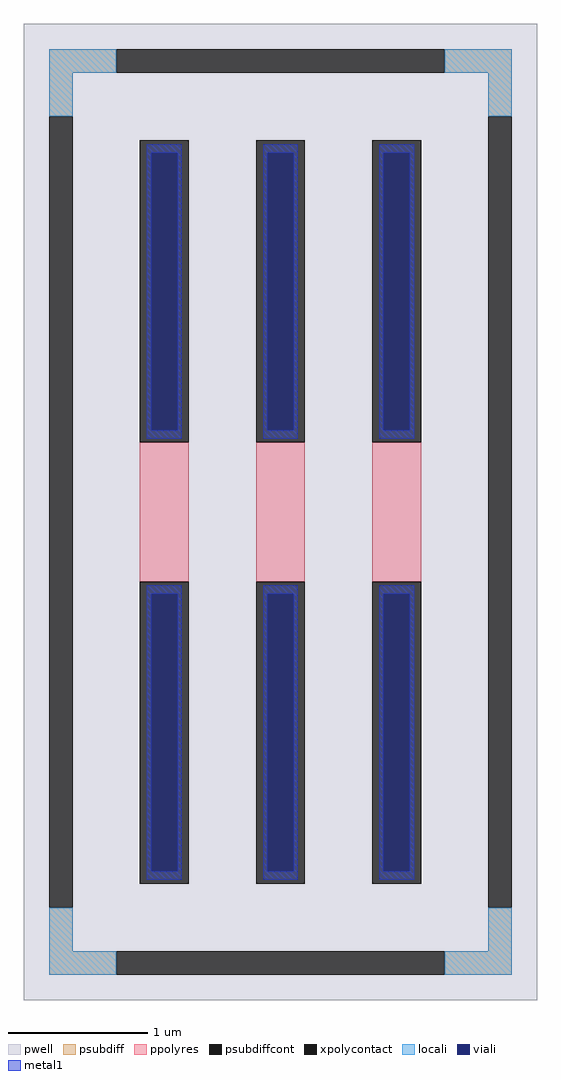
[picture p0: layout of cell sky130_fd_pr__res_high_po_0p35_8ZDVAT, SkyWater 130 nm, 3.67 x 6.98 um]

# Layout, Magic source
magic
tech sky130A
magscale 1 2
<< pwell >>
rect -367 -698 367 698
<< psubdiff >>
rect -331 628 -235 662
rect 235 628 331 662
rect -331 566 -297 628
rect 297 566 331 628
rect -331 -628 -297 -566
rect 297 -628 331 -566
rect -331 -662 -235 -628
rect 235 -662 331 -628
<< psubdiffcont >>
rect -235 628 235 662
rect -331 -566 -297 566
rect 297 -566 331 566
rect -235 -662 235 -628
<< xpolycontact >>
rect -201 100 -131 532
rect -201 -532 -131 -100
rect -35 100 35 532
rect -35 -532 35 -100
rect 131 100 201 532
rect 131 -532 201 -100
<< ppolyres >>
rect -201 -100 -131 100
rect -35 -100 35 100
rect 131 -100 201 100
<< locali >>
rect -331 628 -235 662
rect 235 628 331 662
rect -331 566 -297 628
rect 297 566 331 628
rect -331 -628 -297 -566
rect 297 -628 331 -566
rect -331 -662 -235 -628
rect 235 -662 331 -628
<< viali >>
rect -185 117 -147 514
rect -19 117 19 514
rect 147 117 185 514
rect -185 -514 -147 -117
rect -19 -514 19 -117
rect 147 -514 185 -117
<< metal1 >>
rect -191 514 -141 526
rect -191 117 -185 514
rect -147 117 -141 514
rect -191 105 -141 117
rect -25 514 25 526
rect -25 117 -19 514
rect 19 117 25 514
rect -25 105 25 117
rect 141 514 191 526
rect 141 117 147 514
rect 185 117 191 514
rect 141 105 191 117
rect -191 -117 -141 -105
rect -191 -514 -185 -117
rect -147 -514 -141 -117
rect -191 -526 -141 -514
rect -25 -117 25 -105
rect -25 -514 -19 -117
rect 19 -514 25 -117
rect -25 -526 25 -514
rect 141 -117 191 -105
rect 141 -514 147 -117
rect 185 -514 191 -117
rect 141 -526 191 -514
<< properties >>
string FIXED_BBOX -314 -645 314 645
string gencell sky130_fd_pr__res_high_po_0p35
string library sky130
string parameters w 0.35 l 1.0 m 1 nx 3 wmin 0.350 lmin 0.50 rho 319.8 val 2.026k dummy 0 dw 0.0 term 194.82 sterm 0.0 caplen 0 guard 1 glc 1 grc 1 gtc 1 gbc 1 compatible {sky130_fd_pr__res_high_po_0p35  sky130_fd_pr__res_high_po_0p69 sky130_fd_pr__res_high_po_1p41  sky130_fd_pr__res_high_po_2p85 sky130_fd_pr__res_high_po_5p73} snake 0 full_metal 1 wmax 0.350 vias 1 n_guard 0 hv_guard 0 viagb 0 viagt 0 viagl 0 viagr 0
<< end >>
